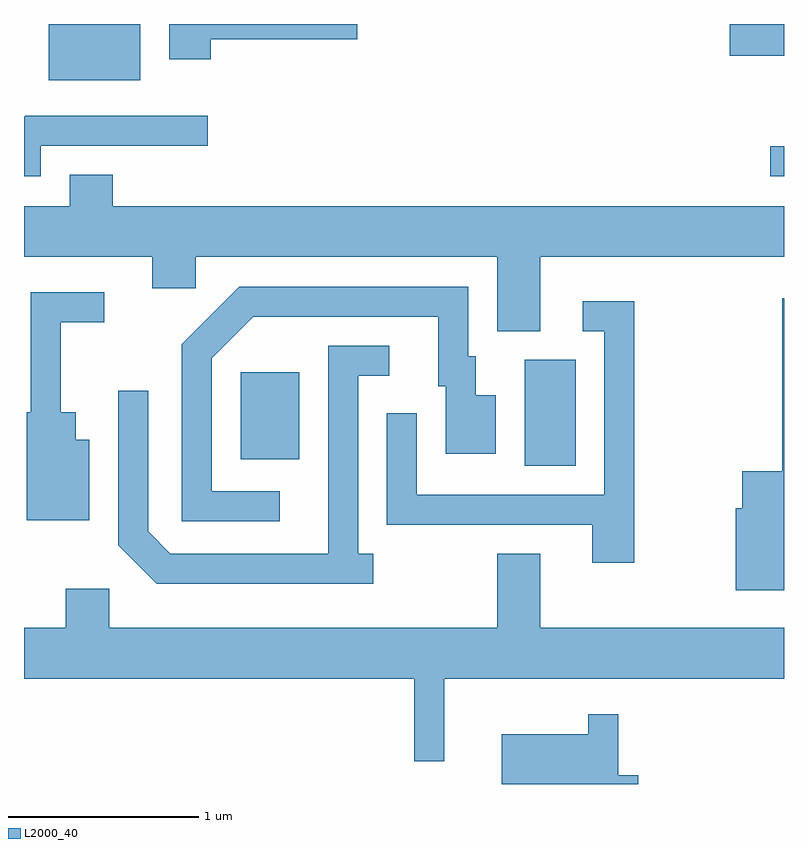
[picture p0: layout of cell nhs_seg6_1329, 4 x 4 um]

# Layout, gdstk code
import gdstk
lib = gdstk.Library(unit=1e-6, precision=1e-09)
def R(c, l, rs):  # rectangles x0, y0, x1, y1
    for r in rs: c.add(gdstk.rectangle(r[:2], r[2:], *l))
def P(c, l, *ps):  # polygons
    for p in ps: c.add(gdstk.Polygon(p, *l))
L2000_40 = (2000, 40)

nhs_seg6_1329 = lib.new_cell('nhs_seg6_1329')
R(nhs_seg6_1329, L2000_40, [(228.246,1537.836,228.514,1538.394), (226.751,1537.871,227.059,1538.329), (229.538,1539.361,229.611,1539.519), (225.741,1539.866,226.224,1540.162), (229.326,1539.996,229.611,1540.162)])
P(nhs_seg6_1329, L2000_40, [(226.594,1540.081),(227.364,1540.081),(227.364,1540.162),(226.376,1540.162),(226.376,1539.976),(226.594,1539.976)],
  [(225.699,1539.521),(226.578,1539.521),(226.578,1539.679),(225.617,1539.679),(225.611,1539.673),(225.611,1539.361),(225.699,1539.361)],
  [(228.329,1538.936),(229.611,1538.936),(229.611,1539.204),(226.079,1539.204),(226.079,1539.369),(225.851,1539.369),(225.851,1539.204),(225.611,1539.204),(225.611,1538.936),(226.286,1538.936),(226.286,1538.771),(226.514,1538.771),(226.514,1538.936),(228.101,1538.936),(228.101,1538.546),(228.329,1538.546)],
  [(226.958,1537.704),(226.599,1537.704),(226.599,1538.404),(226.817,1538.621),(227.791,1538.621),(227.791,1538.256),(227.831,1538.256),(227.831,1537.901),(228.094,1537.901),(228.094,1538.209),(227.989,1538.209),(227.989,1538.414),(227.949,1538.414),(227.949,1538.779),(226.744,1538.779),(226.441,1538.477),(226.441,1537.546),(226.958,1537.546)],
  [(225.954,1537.974),(225.884,1537.974),(225.884,1538.119),(225.804,1538.119),(225.804,1538.591),(226.033,1538.591),(226.033,1538.749),(225.646,1538.749),(225.646,1538.119),(225.626,1538.119),(225.626,1537.551),(225.954,1537.551)],
  [(229.611,1538.718),(229.601,1538.718),(229.601,1537.809),(229.391,1537.809),(229.391,1537.614),(229.356,1537.614),(229.356,1537.181),(229.611,1537.181)],
  [(228.824,1538.704),(228.553,1538.704),(228.553,1538.546),(228.666,1538.546),(228.666,1537.684),(227.679,1537.684),(227.679,1538.113),(227.521,1538.113),(227.521,1537.526),(228.601,1537.526),(228.601,1537.326),(228.824,1537.326)],
  [(227.448,1537.374),(227.369,1537.374),(227.369,1538.311),(227.533,1538.311),(227.533,1538.469),(227.211,1538.469),(227.211,1537.374),(226.382,1537.374),(226.264,1537.492),(226.264,1538.233),(226.106,1538.233),(226.106,1537.419),(226.309,1537.216),(227.448,1537.216)],
  [(227.824,1536.716),(229.611,1536.716),(229.611,1536.984),(228.329,1536.984),(228.329,1537.374),(228.101,1537.374),(228.101,1536.984),(226.059,1536.984),(226.059,1537.189),(225.831,1537.189),(225.831,1536.984),(225.611,1536.984),(225.611,1536.716),(227.666,1536.716),(227.666,1536.283),(227.824,1536.283)],
  [(228.844,1536.209),(228.739,1536.209),(228.739,1536.528),(228.581,1536.528),(228.581,1536.424),(228.126,1536.424),(228.126,1536.162),(228.844,1536.162)])

lib.write_gds('nhs_seg6_1329.gds')
